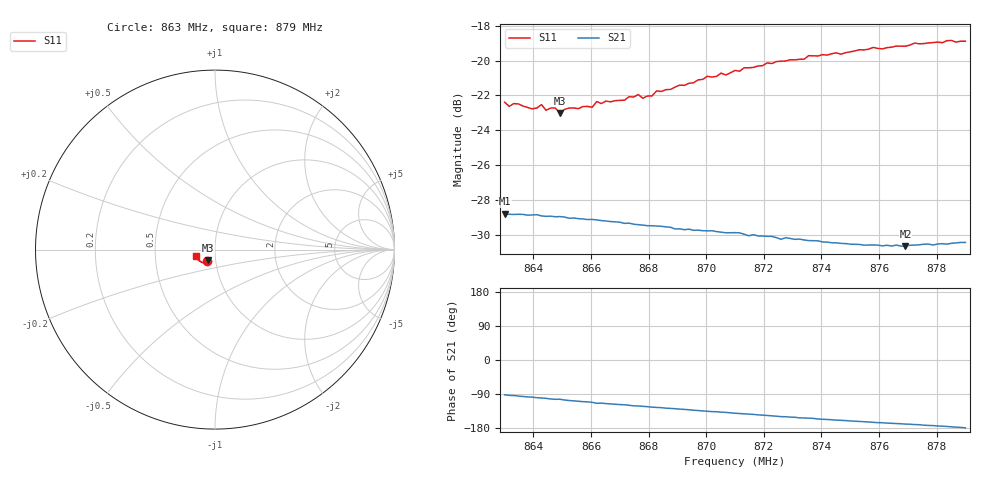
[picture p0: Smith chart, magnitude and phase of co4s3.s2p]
# HZ S RI R 50
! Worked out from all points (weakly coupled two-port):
!   101 points, 863 MHz to 879 MHz, reference 50 ohm
!   highest |S21| = -28.79 dB at 863 MHz (marker M1); lowest = -30.7 dB at 876.92 MHz (marker M2)
!   lowest |S11| = -23.0 dB at 864.92 MHz (marker M3), VSWR 1.15, Z = 45.9 - j5.42 ohm
!   |S11| at or under -10 dB: start of sweep to end of sweep
!   S12 and S22 are empty: the file has one direction only
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8.63e8  -0.0438 -0.062  -0.00122 -0.0363  0 0  0 0
8.6316e8  -0.042 -0.0608  -0.00206 -0.0361  0 0  0 0
8.6348e8  -0.0429 -0.0616  -0.00325 -0.036  0 0  0 0
8.6396e8  -0.0399 -0.0608  -0.00506 -0.0357  0 0  0 0
8.6428e8  -0.0403 -0.0629  -0.00637 -0.0352  0 0  0 0
8.6444e8  -0.0393 -0.0603  -0.00696 -0.035  0 0  0 0
8.6476e8  -0.0401 -0.0611  -0.00842 -0.0346  0 0  0 0
8.6492e8  -0.0394 -0.0588  -0.00833 -0.0347  0 0  0 0
8.6524e8  -0.0388 -0.0619  -0.0103 -0.0337  0 0  0 0
8.6572e8  -0.0378 -0.0634  -0.012 -0.033  0 0  0 0
8.6604e8  -0.0371 -0.0634  -0.0129 -0.0325  0 0  0 0
8.662e8  -0.0384 -0.0659  -0.0143 -0.0318  0 0  0 0
8.6716e8  -0.0381 -0.0669  -0.0161 -0.03  0 0  0 0
8.6764e8  -0.0407 -0.0687  -0.0176 -0.0289  0 0  0 0
8.678e8  -0.0409 -0.0664  -0.018 -0.0285  0 0  0 0
8.6844e8  -0.0421 -0.0698  -0.0195 -0.0271  0 0  0 0
8.71e8  -0.0565 -0.0747  -0.0247 -0.0204  0 0  0 0
8.7372e8  -0.0751 -0.0708  -0.0273 -0.0133  0 0  0 0
8.7644e8  -0.0948 -0.0544  -0.0286 -0.00659  0 0  0 0
8.7692e8  -0.0972 -0.0515  -0.0288 -0.00549  0 0  0 0
8.7724e8  -0.1005 -0.0501  -0.0291 -0.00492  0 0  0 0
8.79e8  -0.1084 -0.0339  -0.03 -0.00047  0 0  0 0
